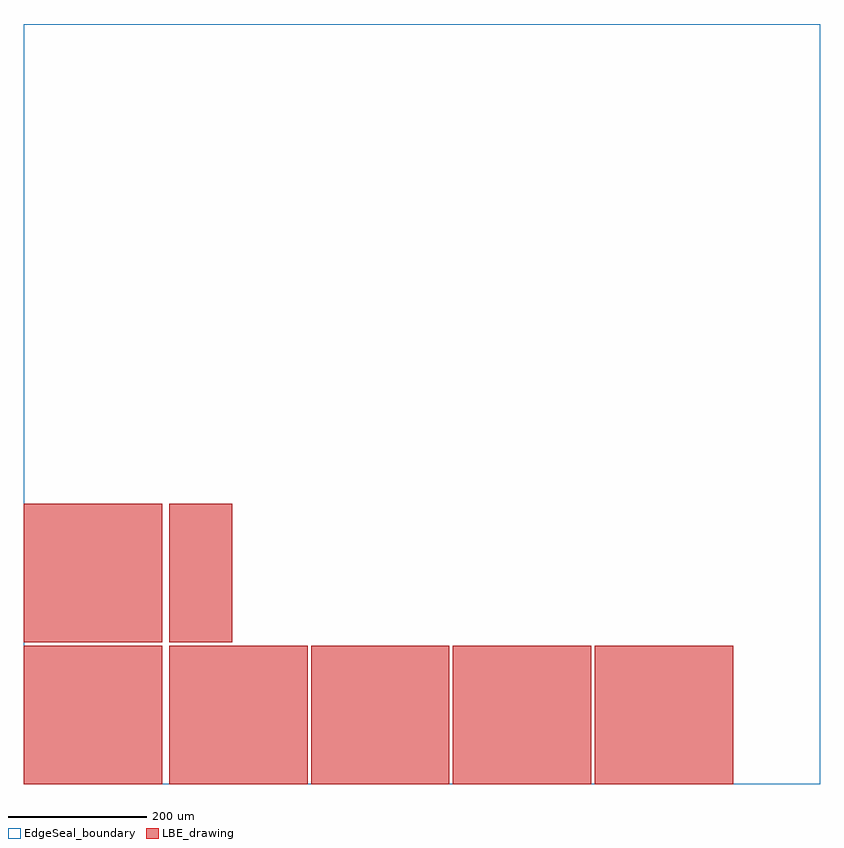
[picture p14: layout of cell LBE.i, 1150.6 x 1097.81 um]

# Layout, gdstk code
import gdstk
lib = gdstk.Library(unit=1e-6, precision=1e-09)
def R(c, l, rs):  # rectangles x0, y0, x1, y1
    for r in rs: c.add(gdstk.rectangle(r[:2], r[2:], *l))
def A(c, l, x, y, w, h, nx, ny, dx, dy):  # array of equal rectangles
    R(c, l, [(x+i*dx, y+j*dy, x+i*dx+w, y+j*dy+h) for i in range(nx) for j in range(ny)])
EdgeSeal_boundary = (39, 4)
LBE_drawing = (157, 0)

lbe_i = lib.new_cell('LBE.i')
R(lbe_i, EdgeSeal_boundary, [(0,0,1150.6,1097.81)])
A(lbe_i, LBE_drawing, 210, 0, 200, 200, 4, 1, 205, 0)
R(lbe_i, LBE_drawing, [(0,0,200,200), (0,205,200,405), (210,205,301.37,405)])

lib.write_gds('LBE.i.gds')
